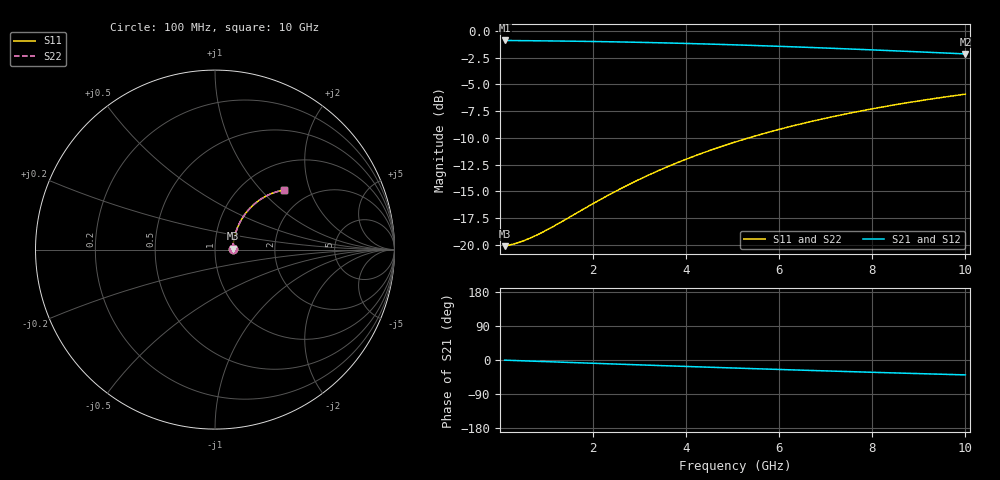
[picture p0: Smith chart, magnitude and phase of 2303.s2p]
# Hz S RI R 50.00
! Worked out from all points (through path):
!   100 points, 100 MHz to 10 GHz, reference 50 ohm
!   highest |S21| = -0.90 dB at 100 MHz (marker M1); lowest = -2.2 dB at 10 GHz (marker M2)
!   group delay of S21, straight-line fit = 11 ps
!   lowest |S11| = -20.1 dB at 100 MHz (marker M3), VSWR 1.22, Z = 60.9 + j0.644 ohm
!   |S11| at or under -10 dB: start of sweep to 5.353 GHz
!   |S22| runs from -20.1 to -5.9 dB; largest |S21 - S12| = 0
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1e8  0.0983 0.00524  0.9017 -0.00684  0.9017 -0.00684  0.0983 0.00524
3e8  0.0996 0.0157  0.9004 -0.0205  0.9004 -0.0205  0.0996 0.0157
4e8  0.1002 0.0209  0.8997 -0.0273  0.8997 -0.0273  0.1002 0.0209
6e8  0.1016 0.0312  0.8984 -0.0408  0.8984 -0.0408  0.1016 0.0312
8e8  0.1031 0.0415  0.8968 -0.0543  0.8968 -0.0543  0.1031 0.0415
1.2e9  0.1069 0.0619  0.8929 -0.0811  0.8929 -0.0811  0.1069 0.0619
1.8e9  0.1147 0.0919  0.8849 -0.1207  0.8849 -0.1207  0.1147 0.0919
2.2e9  0.1212 0.1113  0.8782 -0.1466  0.8782 -0.1466  0.1212 0.1113
2.6e9  0.1287 0.1302  0.8703 -0.1719  0.8703 -0.1719  0.1287 0.1302
3e9  0.1373 0.1485  0.8614 -0.1966  0.8614 -0.1966  0.1373 0.1485
3.4e9  0.1468 0.1661  0.8516 -0.2206  0.8516 -0.2206  0.1468 0.1661
3.8e9  0.1573 0.183  0.8407 -0.244  0.8407 -0.244  0.1573 0.183
4.2e9  0.1686 0.1991  0.829 -0.2665  0.829 -0.2665  0.1686 0.1991
4.6e9  0.1806 0.2143  0.8165 -0.2882  0.8165 -0.2882  0.1806 0.2143
5.1e9  0.1966 0.2322  0.7998 -0.3142  0.7998 -0.3142  0.1966 0.2322
5.5e9  0.2101 0.2455  0.7857 -0.334  0.7857 -0.334  0.2101 0.2455
5.9e9  0.2241 0.2578  0.7711 -0.3528  0.7711 -0.3528  0.2241 0.2578
6.7e9  0.2535 0.2797  0.7403 -0.3877  0.7403 -0.3877  0.2535 0.2797
7.5e9  0.2841 0.2978  0.7082 -0.4189  0.7082 -0.4189  0.2841 0.2978
8.4e9  0.3193 0.3138  0.6709 -0.4497  0.6709 -0.4497  0.3193 0.3138
9.2e9  0.3508 0.3242  0.6374 -0.4735  0.6374 -0.4735  0.3508 0.3242
1e10  0.3821 0.3314  0.6039 -0.4939  0.6039 -0.4939  0.3821 0.3314
